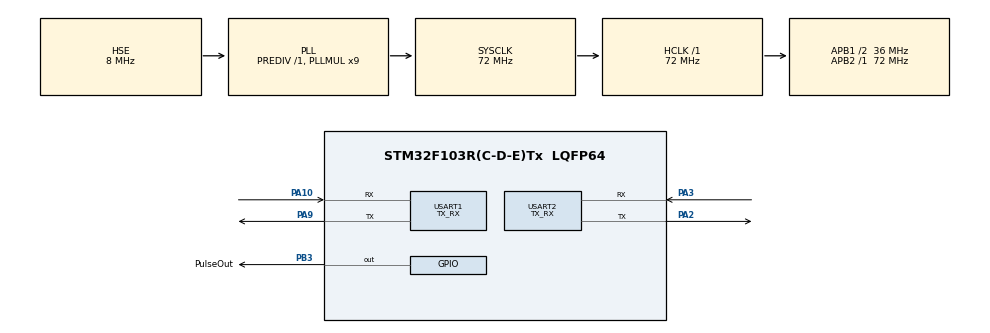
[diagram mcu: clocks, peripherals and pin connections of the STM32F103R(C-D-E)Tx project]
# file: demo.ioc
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Mcu.Family=STM32F1
Mcu.Name=STM32F103R(C-D-E)Tx
Mcu.Package=LQFP64
NVIC.PriorityGroup=NVIC_PRIORITYGROUP_4
NVIC.USART1_IRQn=true\:0\:0\:false\:false\:true\:true\:true\:true
PA10.Mode=Asynchronous
PA10.Signal=USART1_RX
PA13.Mode=Serial_Wire
PA13.Signal=SYS_JTMS-SWDIO
PA14.Mode=Serial_Wire
PA14.Signal=SYS_JTCK-SWCLK
PA2.Mode=Asynchronous
PA2.Signal=USART2_TX
PA3.Mode=Asynchronous
PA3.Signal=USART2_RX
PA9.Mode=Asynchronous
PA9.Signal=USART1_TX
PB3.GPIO_Label=PulseOut
PB3.Signal=GPIO_Output
PD0-OSC_IN.Mode=HSE-External-Oscillator
PD0-OSC_IN.Signal=RCC_OSC_IN
PD1-OSC_OUT.Mode=HSE-External-Oscillator
PD1-OSC_OUT.Signal=RCC_OSC_OUT
ProjectManager.HeapSize=0x200
ProjectManager.StackSize=0x400
ProjectManager.TargetToolchain=MDK-ARM V5
RCC.AHBFreq_Value=72000000
RCC.APB1CLKDivider=RCC_HCLK_DIV2
RCC.APB1Freq_Value=36000000
RCC.APB1TimFreq_Value=72000000
RCC.APB2Freq_Value=72000000
RCC.APB2TimFreq_Value=72000000
RCC.HCLKFreq_Value=72000000
RCC.PLLMUL=RCC_PLL_MUL9
RCC.PLLSourceVirtual=RCC_PLLSOURCE_HSE
RCC.SYSCLKFreq_VALUE=72000000
RCC.SYSCLKSource=RCC_SYSCLKSOURCE_PLLCLK
RCC.USBFreq_Value=72000000
USART1.Mode=MODE_TX_RX
USART1.VirtualMode=VM_ASYNC
USART2.Mode=MODE_TX_RX
USART2.VirtualMode=VM_ASYNC
board=custom

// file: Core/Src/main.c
/* USER CODE BEGIN Header */
/**
 ******************************************************************************
 * @file           : main.c
 * @brief          : Main program body
 ******************************************************************************
 * @attention
 *
 * <h2><center>&copy; Copyright (c) 2022 STMicroelectronics.
 * All rights reserved.</center></h2>
 *
 * This software component is licensed by ST under BSD 3-Clause license,
 * the "License"; You may not use this file except in compliance with the
 * License. You may obtain a copy of the License at:
 *                        opensource.org/licenses/BSD-3-Clause
 *
 ******************************************************************************
 */
/* USER CODE END Header */
#include "main.h"
#include "usart.h"
#include "gpio.h"

void SystemClock_Config(void);

int main(void)
{

    /* MCU Configuration--------------------------------------------------------*/

    /* Reset of all peripherals, Initializes the Flash interface and the Systick. */
    HAL_Init();

    /* Configure the system clock */
    SystemClock_Config();

    /* Initialize all configured peripherals */
    MX_GPIO_Init();
    MX_USART1_UART_Init();
    MX_USART2_UART_Init();

    /* Infinite loop */
    /* USER CODE BEGIN WHILE */
    uint8_t  buff;
    uint64_t times = 0;
    while (1) {
        while (1) {
            // read data from uart
            if (HAL_UART_Receive(&huart2, &buff, 1, 0xFF) == HAL_OK) {
                if ('0' <= buff && buff <= '9') {
                    times *= 10;
                    times += buff - '0';
                } else {
                    break;
                }
            }
        }

        if (times > 0) {
            times *= 2;

            while (times--) {
                HAL_GPIO_TogglePin(PulseOut_GPIO_Port, PulseOut_Pin);  // B3

                // delay
                uint32_t n = 1e2;
                while (n--) {}
            }

            printf("ok\r\n");
        }

        /* USER CODE END WHILE */

    }
}

void SystemClock_Config(void)
{
    RCC_OscInitTypeDef RCC_OscInitStruct = {0};
    RCC_ClkInitTypeDef RCC_ClkInitStruct = {0};

    /** Initializes the RCC Oscillators according to the specified parameters
     * in the RCC_OscInitTypeDef structure.
     */
    RCC_OscInitStruct.OscillatorType = RCC_OSCILLATORTYPE_HSE;
    RCC_OscInitStruct.HSEState       = RCC_HSE_ON;
    RCC_OscInitStruct.HSEPredivValue = RCC_HSE_PREDIV_DIV1;
    RCC_OscInitStruct.HSIState       = RCC_HSI_ON;
    RCC_OscInitStruct.PLL.PLLState   = RCC_PLL_ON;
    RCC_OscInitStruct.PLL.PLLSource  = RCC_PLLSOURCE_HSE;
    RCC_OscInitStruct.PLL.PLLMUL     = RCC_PLL_MUL9;
    if (HAL_RCC_OscConfig(&RCC_OscInitStruct) != HAL_OK) {
        Error_Handler();
    }

    /** Initializes the CPU, AHB and APB buses clocks
     */
    RCC_ClkInitStruct.ClockType      = RCC_CLOCKTYPE_HCLK | RCC_CLOCKTYPE_SYSCLK | RCC_CLOCKTYPE_PCLK1 | RCC_CLOCKTYPE_PCLK2;
    RCC_ClkInitStruct.SYSCLKSource   = RCC_SYSCLKSOURCE_PLLCLK;
    RCC_ClkInitStruct.AHBCLKDivider  = RCC_SYSCLK_DIV1;
    RCC_ClkInitStruct.APB1CLKDivider = RCC_HCLK_DIV2;
    RCC_ClkInitStruct.APB2CLKDivider = RCC_HCLK_DIV1;

    if (HAL_RCC_ClockConfig(&RCC_ClkInitStruct, FLASH_LATENCY_2) != HAL_OK) {
        Error_Handler();
    }
}

void Error_Handler(void)
{
}
